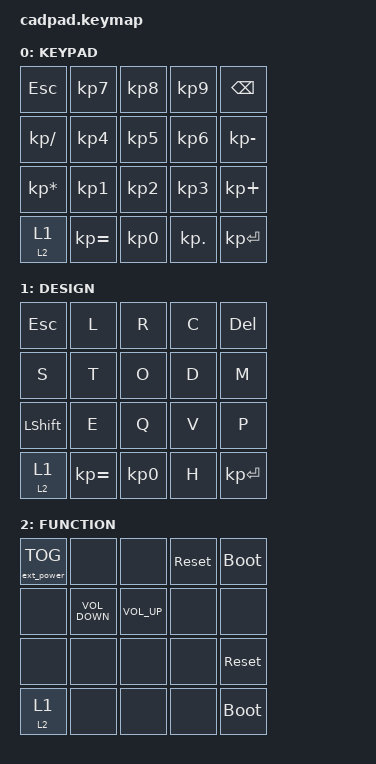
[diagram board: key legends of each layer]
/*
 * Copyright (c) 2022 The ZMK Contributors
 *
 * SPDX-License-Identifier: MIT
 */
#include <dt-bindings/zmk/behaviors.h>
#include <behaviors.dtsi>
#include <dt-bindings/zmk/keys.h>
#include <dt-bindings/zmk/bt.h>
#include <dt-bindings/zmk/ext_power.h>


#define MO_TOG(layer) &mo_tog layer layer

/ {


        behaviors {
          mo_tog: behavior_mo_tog {
              compatible = "zmk,behavior-hold-tap";
              #binding-cells = <2>;
              flavor = "hold-preferred";
              tapping-term-ms = <200>;
              bindings = <&mo>, <&tog>;
          };
    };




    keymap {



        compatible = "zmk,keymap";

        Keypad { // Layer 0
            display-name = "KEYPAD";
// ----------------------------------------------
// |     Z     |     M     |     K     |
// |     A     |     B     |     C     |
            bindings = <
                     &kp ESC          &kp KP_N7   &kp KP_N8     &kp KP_N9      &kp BACKSPACE
                     &kp KP_DIVIDE    &kp KP_N4   &kp KP_N5     &kp KP_N6      &kp KP_MINUS  
                     &kp KP_MULTIPLY  &kp KP_N1   &kp KP_N2     &kp KP_N3      &kp KP_PLUS
     &mo_tog 2 1     &kp KP_EQUAL     &kp KP_N0                 &kp KP_DOT                   &kp KP_ENTER
            >;
        };

        Design { // Layer 1
            display-name = "DESIGN";
// ----------------------------------------------
// |      A      |       B       |       C      |
// |    &trans   |    &trans     |     &trans   |
            bindings = <
                     &kp ESC          &kp L   &kp R     &kp C      &kp DEL
                     &kp S            &kp T   &kp O     &kp D      &kp M  
                     &kp LSHIFT       &kp E   &kp Q     &kp V      &kp P
      &mo_tog 2 1    &kp KP_EQUAL     &kp KP_N0         &kp H                  &kp KP_ENTER
            >;
        };

         abc { // Layer 1
            display-name = "FUNCTION";
// ----------------------------------------------
// |      A      |       B       |       C      |
// |    &trans   |    &trans     |     &trans   |
            bindings = <
                        &ext_power EP_TOG    &none   &none     &sys_reset      &bootloader
                        &none                &kp C_VOLUME_DOWN         &kp C_VOLUME_UP          &none      &none  
                        &none                &none         &none          &none      &sys_reset
         &mo_tog 2 1    &none                &none                 &none      &bootloader
            >;
        };


    };


 };
